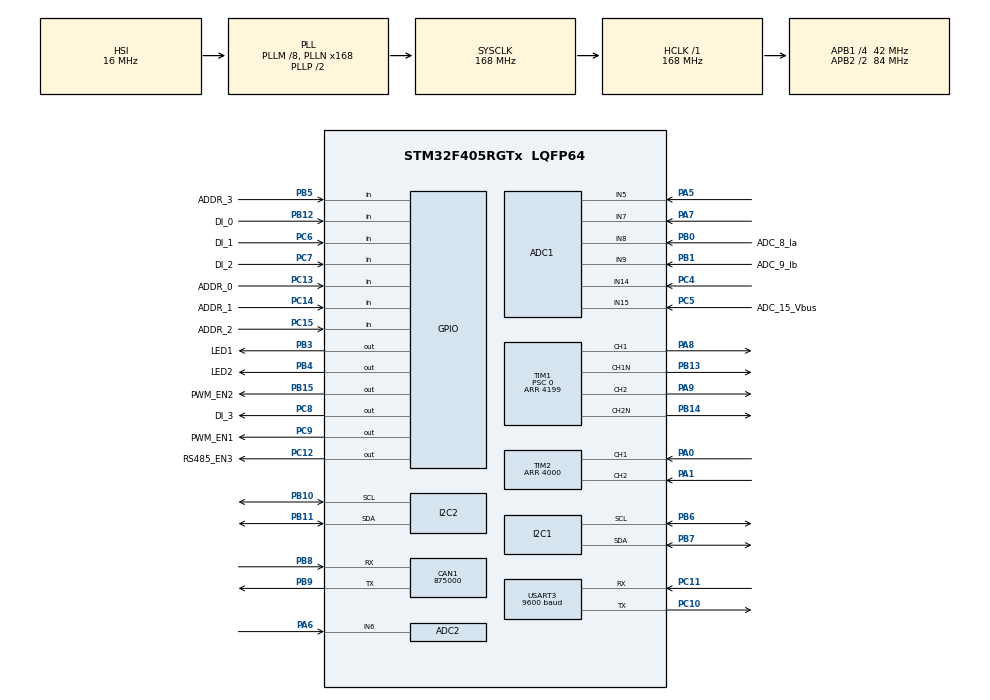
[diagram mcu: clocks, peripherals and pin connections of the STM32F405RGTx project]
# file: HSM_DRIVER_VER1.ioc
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ADC1.Channel-0\#ChannelRegularConversion=ADC_CHANNEL_9
ADC1.Channel-2\#ChannelRegularConversion=ADC_CHANNEL_8
ADC1.ClockPrescaler=ADC_CLOCK_SYNC_PCLK_DIV4
ADC1.ContinuousConvMode=DISABLE
ADC1.EOCSelection=ADC_EOC_SEQ_CONV
ADC1.NbrOfConversion=2
ADC1.NbrOfConversionFlag=1
ADC1.Rank-0\#ChannelRegularConversion=1
ADC1.Rank-2\#ChannelRegularConversion=2
ADC1.SamplingTime-0\#ChannelRegularConversion=ADC_SAMPLETIME_3CYCLES
ADC1.SamplingTime-2\#ChannelRegularConversion=ADC_SAMPLETIME_3CYCLES
ADC1.ScanConvMode=ENABLE
ADC1.master=1
ADC2.Channel-0\#ChannelRegularConversion=ADC_CHANNEL_6
ADC2.ClockPrescaler=ADC_CLOCK_SYNC_PCLK_DIV4
ADC2.NbrOfConversionFlag=1
ADC2.Rank-0\#ChannelRegularConversion=1
ADC2.SamplingTime-0\#ChannelRegularConversion=ADC_SAMPLETIME_3CYCLES
CAN1.CalculateBaudRate=875000
CAN1.CalculateTimeBit=1142
CAN1.CalculateTimeQuantum=380.95238095238096
Dma.ADC1.0.Direction=DMA_PERIPH_TO_MEMORY
Dma.ADC1.0.FIFOMode=DMA_FIFOMODE_DISABLE
Dma.ADC1.0.Instance=DMA2_Stream0
Dma.ADC1.0.MemDataAlignment=DMA_MDATAALIGN_HALFWORD
Dma.ADC1.0.MemInc=DMA_MINC_ENABLE
Dma.ADC1.0.Mode=DMA_NORMAL
Dma.ADC1.0.PeriphDataAlignment=DMA_PDATAALIGN_HALFWORD
Dma.ADC1.0.PeriphInc=DMA_PINC_DISABLE
Dma.ADC1.0.Priority=DMA_PRIORITY_VERY_HIGH
Dma.Request0=ADC1
Mcu.Family=STM32F4
Mcu.Name=STM32F405RGTx
Mcu.Package=LQFP64
NVIC.DMA2_Stream0_IRQn=true\:0\:0\:false\:false\:true\:false\:true\:true
NVIC.PriorityGroup=NVIC_PRIORITYGROUP_4
NVIC.TIM1_UP_TIM10_IRQn=true\:0\:0\:true\:false\:true\:true\:true\:true
PA0-WKUP.Signal=S_TIM2_CH1_ETR
PA1.Signal=S_TIM2_CH2
PA13.Mode=Serial_Wire
PA13.Signal=SYS_JTMS-SWDIO
PA14.Mode=Serial_Wire
PA14.Signal=SYS_JTCK-SWCLK
PA5.Signal=ADCx_IN5
PA6.Signal=ADCx_IN6
PA7.Signal=ADCx_IN7
PA8.Signal=S_TIM1_CH1
PA9.Signal=S_TIM1_CH2
PB0.GPIO_Label=ADC_8_Ia
PB0.Signal=ADCx_IN8
PB1.GPIO_Label=ADC_9_Ib
PB1.Signal=ADCx_IN9
PB10.Mode=I2C
PB10.Signal=I2C2_SCL
PB11.Mode=I2C
PB11.Signal=I2C2_SDA
PB12.GPIO_Label=DI_0
PB12.GPIO_PuPd=GPIO_NOPULL
PB12.Signal=GPIO_Input
PB13.Mode=PWM Generation1 CH1 CH1N
PB13.Signal=TIM1_CH1N
PB14.Mode=PWM Generation2 CH2 CH2N
PB14.Signal=TIM1_CH2N
PB15.GPIO_Label=PWM_EN2
PB15.Signal=GPIO_Output
PB3.GPIO_Label=LED1
PB3.Signal=GPIO_Output
PB4.GPIO_Label=LED2
PB4.Signal=GPIO_Output
PB5.GPIO_Label=ADDR_3
PB5.Signal=GPIO_Input
PB6.Mode=I2C
PB6.Signal=I2C1_SCL
PB7.Mode=I2C
PB7.Signal=I2C1_SDA
PB8.Mode=CAN_Activate
PB8.Signal=CAN1_RX
PB9.Mode=CAN_Activate
PB9.Signal=CAN1_TX
PC10.Mode=Asynchronous
PC10.Signal=USART3_TX
PC11.Mode=Asynchronous
PC11.Signal=USART3_RX
PC12.GPIO_Label=RS485_EN3
PC12.Signal=GPIO_Output
PC13-ANTI_TAMP.GPIO_Label=ADDR_0
PC13-ANTI_TAMP.GPIO_PuPd=GPIO_PULLUP
PC13-ANTI_TAMP.Signal=GPIO_Input
PC14-OSC32_IN.GPIO_Label=ADDR_1
PC14-OSC32_IN.GPIO_PuPd=GPIO_PULLUP
PC14-OSC32_IN.Signal=GPIO_Input
PC15-OSC32_OUT.GPIO_Label=ADDR_2
PC15-OSC32_OUT.Signal=GPIO_Input
PC4.Signal=ADCx_IN14
PC5.GPIO_Label=ADC_15_Vbus
PC5.Signal=ADCx_IN15
PC6.GPIO_Label=DI_1
PC6.GPIO_PuPd=GPIO_NOPULL
PC6.Signal=GPIO_Input
PC7.GPIO_Label=DI_2
PC7.Signal=GPIO_Input
PC8.GPIO_Label=DI_3
PC8.Signal=GPIO_Output
PC9.GPIO_Label=PWM_EN1
PC9.Signal=GPIO_Output
PH0-OSC_IN.Mode=HSE-External-Oscillator
PH0-OSC_IN.Signal=RCC_OSC_IN
PH1-OSC_OUT.Mode=HSE-External-Oscillator
PH1-OSC_OUT.Signal=RCC_OSC_OUT
ProjectManager.HeapSize=0x200
ProjectManager.StackSize=0x400
ProjectManager.TargetToolchain=MDK-ARM V5.32
RCC.48MHZClocksFreq_Value=84000000
RCC.AHBFreq_Value=168000000
RCC.APB1CLKDivider=RCC_HCLK_DIV4
RCC.APB1Freq_Value=42000000
RCC.APB1TimFreq_Value=84000000
RCC.APB2CLKDivider=RCC_HCLK_DIV2
RCC.APB2Freq_Value=84000000
RCC.APB2TimFreq_Value=168000000
RCC.CortexFreq_Value=168000000
RCC.HCLKFreq_Value=168000000
RCC.HSE_VALUE=25000000
RCC.HSI_VALUE=16000000
RCC.LSE_VALUE=32768
RCC.PLLM=8
RCC.PLLN=168
RCC.SYSCLKFreq_VALUE=168000000
RCC.SYSCLKSource=RCC_SYSCLKSOURCE_PLLCLK
RCC.VCOOutputFreq_Value=336000000
SH.ADCx_IN14.0=ADC1_IN14,IN14
SH.ADCx_IN15.0=ADC1_IN15,IN15
SH.ADCx_IN5.0=ADC1_IN5,IN5
SH.ADCx_IN6.0=ADC2_IN6,IN6
SH.ADCx_IN7.0=ADC1_IN7,IN7
SH.ADCx_IN8.0=ADC1_IN8,IN8
SH.ADCx_IN9.0=ADC1_IN9,IN9
SH.S_TIM1_CH1.0=TIM1_CH1,PWM Generation1 CH1 CH1N
SH.S_TIM1_CH2.0=TIM1_CH2,PWM Generation2 CH2 CH2N
SH.S_TIM2_CH1_ETR.0=TIM2_CH1,Encoder_Interface
SH.S_TIM2_CH2.0=TIM2_CH2,Encoder_Interface
TIM1.AutoReloadPreload=TIM_AUTORELOAD_PRELOAD_ENABLE
TIM1.Channel-PWM\ Generation1\ CH1\ CH1N=TIM_CHANNEL_1
TIM1.Channel-PWM\ Generation2\ CH2\ CH2N=TIM_CHANNEL_2
TIM1.CounterMode=TIM_COUNTERMODE_CENTERALIGNED1
TIM1.OCNIdleState_1=TIM_OCNIDLESTATE_SET
TIM1.OCNIdleState_2=TIM_OCNIDLESTATE_SET
TIM1.Period=4199
TIM1.Prescaler=0
TIM1.Pulse-PWM\ Generation1\ CH1\ CH1N=0
TIM1.Pulse-PWM\ Generation2\ CH2\ CH2N=0
TIM1.RepetitionCounter=0
TIM2.EncoderMode=TIM_ENCODERMODE_TI12
TIM2.IC1Filter=10
TIM2.IC2Filter=10
TIM2.Period=4000
TIM3.Prescaler=83 
TIM5.Prescaler=83
USART3.BaudRate=9600
USART3.VirtualMode=VM_ASYNC
VP_TIM1_VS_ClockSourceINT.Mode=Internal
VP_TIM3_VS_ClockSourceINT.Mode=Internal
VP_TIM5_VS_ClockSourceINT.Mode=Internal
board=custom

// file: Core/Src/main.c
/* USER CODE BEGIN Header */
/**
  ******************************************************************************
  * @file           : main.c
  * @brief          : Main program body
  ******************************************************************************
  * @attention
  *
  * Copyright (c) 2023 STMicroelectronics.
  * All rights reserved.
  *
  * This software is licensed under terms that can be found in the LICENSE file
  * in the root directory of this software component.
  * If no LICENSE file comes with this software, it is provided AS-IS.
  *
  ******************************************************************************
  */
/* USER CODE END Header */
#include "main.h"

/* USER CODE BEGIN Includes */
#include "stdio.h"
#include <math.h>
/* USER CODE END Includes */

ADC_HandleTypeDef hadc1;
ADC_HandleTypeDef hadc2;
DMA_HandleTypeDef hdma_adc1;

CAN_HandleTypeDef hcan1;

I2C_HandleTypeDef hi2c1;
I2C_HandleTypeDef hi2c2;

TIM_HandleTypeDef htim1;
TIM_HandleTypeDef htim2;
TIM_HandleTypeDef htim3;
TIM_HandleTypeDef htim5;

UART_HandleTypeDef huart3;

void SystemClock_Config(void);
static void MX_GPIO_Init(void);
static void MX_DMA_Init(void);
static void MX_ADC1_Init(void);
static void MX_ADC2_Init(void);
static void MX_CAN1_Init(void);
static void MX_I2C1_Init(void);
static void MX_I2C2_Init(void);
static void MX_TIM1_Init(void);
static void MX_TIM2_Init(void);
static void MX_USART3_UART_Init(void);
static void MX_TIM3_Init(void);
static void MX_TIM5_Init(void);

/* USER CODE BEGIN 0 */
		/*Khai bao bien*/
		ENCODER_OBJECT encoder_var, theta_var;
		PI_OBJECT PI_Id_var, PI_Iq_var, PI_speed_var;
		ADC_OBJECT adc_var;
		HSM hsm_var; 			// hybrid stepper motor variable
		FLAG flag_var;
		CONTROL_OBJECT control_var;
		SVPWM svpwm_var;
		LPF LPF_speed_var, LPF_current_var, LPF_voltage_var;
		UART uart_var;

		volatile float put_rpm = 0, put_Iq = 0;

		uint8_t MSG[20] = {'\0'};

		void Wait_time(float time){
			static volatile uint16_t getdata = 0;
			if (getdata < time){
				getdata++;						// get data after 1s
			}
			if(getdata == time){
				if(control_var.cnt_k == 0){
					flag_var.flag_read = 1;
					getdata = time+1;
					Motor_Enable();
				}
			}
		}

		void SAVE_DATA(TYPE data){
			static volatile uint16_t cnt_data = 0;
			if(cnt_data < 100){
				if(data == CURRENT){
					uart_var.data_1[cnt_data] = (int)(1000*control_var.Iq_sp); //(int)(control_var.dutyA);//  //(int)(1000*control_var.Id_sp);
					uart_var.data_2[cnt_data] = (int)(1000*control_var.Iq_fb); //(int)(control_var.dutyB);  //(int)(1000*control_var.Id_fb);
					uart_var.data_3[cnt_data] = (int)(1000*control_var.Id_sp);
					uart_var.data_4[cnt_data] = (int)(1000*control_var.Id_fb);
				}
				if(data == SPEED){
					uart_var.data_1[cnt_data] = (int)(100*control_var.rpm_sp);
					uart_var.data_2[cnt_data] = (int)(100*encoder_var.rpm_fb);
				}
				cnt_data++;			// next sample
			}
			else{
				Motor_stop();
				flag_var.flag_send = 1;		// start sending
				flag_var.flag_read = 0;			// stop reading
			}
		}
		/*HAM NGAT TIMER********************************************/
		void HAL_TIM_PeriodElapsedCallback(TIM_HandleTypeDef *htim){
			/* Prevent unused argument(s) compilation warning */
			UNUSED(htim);
			/*USER CODE*/

				if (htim->Instance == htim1.Instance){			// interrupt every 25us
					/*Let comment the Wait_time when run OPEN LOOP*/
					Wait_time(40000);	// wait a second to start running the motor

					/*Current loop execute below*/
					flag_var.flag_25us_50us++;
					if(flag_var.flag_25us_50us >= 2){			// every 50us
						CAL_CURRENT(&adc_var);
						//CURRENT_OPENLOOP(&control_var, &adc_var, 12);			// set the voltage
						flag_var.flag_25us_50us = 0;

						if(flag_var.flag_read == 1){				// start read and save data
							CURRENT_LOOP(&control_var, &PI_Id_var, &PI_Iq_var); //set the current Iq
							//SAVE_DATA(CURRENT);
						}
					}

					/*Speed loop*/
					flag_var.flag_25us_20ms++;
					if(flag_var.flag_25us_20ms >= 200){				// every 20ms
						CAL_SPEED(&encoder_var);
						//SPEED_LOOP(&control_var, &PI_speed_var, 120);		// set the speed rpm

						flag_var.flag_25us_20ms = 0;
						if(flag_var.flag_read == 1){				// start read and save data
							SPEED_LOOP(&control_var, &PI_speed_var, 120);
							SAVE_DATA(SPEED);
						}
					}
				}
		}
		/*Blink Leds********************************************/
		void nhayled(uint16_t ms){
			HAL_GPIO_TogglePin(LED1_GPIO_Port, LED1_Pin);
			HAL_GPIO_TogglePin(LED2_GPIO_Port, LED2_Pin);
			delay_ms(ms);
		}
			/* USER CODE END 0 */

int main(void)
{

  /* MCU Configuration--------------------------------------------------------*/

  /* Reset of all peripherals, Initializes the Flash interface and the Systick. */
  HAL_Init();

  /* Configure the system clock */
  SystemClock_Config();

  /* Initialize all configured peripherals */
  MX_GPIO_Init();
  MX_DMA_Init();
  MX_ADC1_Init();
  MX_ADC2_Init();
  MX_CAN1_Init();
  MX_I2C1_Init();
  MX_I2C2_Init();
  MX_TIM1_Init();
  MX_TIM2_Init();
  MX_USART3_UART_Init();
  MX_TIM3_Init();
  MX_TIM5_Init();
  /* USER CODE BEGIN 2 */
		HAL_GPIO_WritePin(LED1_GPIO_Port, LED1_Pin, GPIO_PIN_SET);		// 	disable led 1
		HAL_GPIO_WritePin(LED2_GPIO_Port, LED2_Pin, GPIO_PIN_SET);		//  disable led 2
		HAL_GPIO_WritePin(PWM_EN1_GPIO_Port, PWM_EN1_Pin, GPIO_PIN_RESET);		// disable H bridge 1
		HAL_GPIO_WritePin(PWM_EN2_GPIO_Port, PWM_EN2_Pin, GPIO_PIN_RESET);		// disable H bridge 1

		// BAT CHE DO PHAT XUNG PWM 2 KENH
		HAL_TIM_PWM_Start(&htim1, TIM_CHANNEL_1);
		HAL_TIMEx_PWMN_Start(&htim1, TIM_CHANNEL_1);
		HAL_TIM_PWM_Start(&htim1, TIM_CHANNEL_2);
		HAL_TIMEx_PWMN_Start(&htim1, TIM_CHANNEL_2);

		// START ADC
		HAL_ADC_Start(&hadc1);

		// CONFIG TIMER
		HAL_TIM_Base_Start_IT(&htim1); 			// PWM & control loop
		HAL_TIM_Base_Start_IT(&htim2); 			// Encoder
		HAL_TIM_Base_Start(&htim3); 		 		//	counter timer - delay timer (not used yet)
		HAL_TIM_Base_Start(&htim5); 		 		//	counter timer - delay timer (not used yet)
		//HAL_TIM_Encoder_Start_IT(&htim2, TIM_CHANNEL_ALL);
		HAL_TIM_Encoder_Start(&htim2, TIM_CHANNEL_ALL);			// Encoder on htim 2
		//HAL_UART_Receive_IT(&huart3, &uart_var.data_RX, 1);

		// INIT FUNCTIONS
		MOTOR_Init(&hsm_var);

		FLAG_Init(&flag_var);
		ADC_Init(&adc_var);
		ENCODER_Init(&encoder_var, 1000, 4, 5e-3);			// use for cal the speed
		ENCODER_Init(&theta_var, 1000, 4, NULL);		// use for count the received pulse, then cal the theta mechanical (rad)

		CONTROLLER_Init(&control_var, 50e-6);			/*CONTROLLER_Init(control var, Ts);*/
		SVPWM_Init(&svpwm_var);

		LPF_Init(&LPF_current_var, 1000, 0.0001);
		LPF_Init(&LPF_speed_var, 10, 0.01);
		LPF_Init(&LPF_voltage_var, 10, 0.01);

		PI_CURRENT_Init(&PI_Id_var, 50e-6);
		PI_CURRENT_Init(&PI_Iq_var, 50e-6);
		PI_SPEED_Init(&PI_speed_var, 5e-3);

		UART_Init(&uart_var);

		/*Enable the motor to hold rotor on phase A*/
		Motor_Enable();
		//htim1.Instance->CCR1 = 2500;
		//htim1.Instance->CCR2 = 2100;
		//Motor_stop();

		HAL_GPIO_WritePin(RS485_EN3_GPIO_Port, RS485_EN3_Pin, GPIO_PIN_SET);		// Set the transmit mode for IC RS485
  /* USER CODE END 2 */

  /* Infinite loop */
  while (1)
  {

    /* USER CODE BEGIN 3 */

		if(flag_var.flag_send == 1){
			if(uart_var.cnt < 100){
				sprintf((char*)MSG,"\n%d %d %d %d %d", uart_var.data_1[uart_var.cnt],uart_var.data_2[uart_var.cnt],
																							uart_var.data_3[uart_var.cnt],uart_var.data_4[uart_var.cnt],uart_var.cnt);
				HAL_UART_Transmit(&huart3, (uint8_t *)MSG, sizeof(MSG), 100);
				uart_var.cnt++;
				//HAL_Delay(10);
			}
			else{
				flag_var.flag_send = 0;
				//HAL_GPIO_WritePin(LED1_GPIO_Port, LED1_Pin, GPIO_PIN_RESET);			// inform the sending data is done
				HAL_UART_Transmit(&huart3, (uint8_t *)"\nE0,E0,E0;", sizeof("\nE0,E0,E0;"), 30);		// stop frame
			}
		}

		/*---------------------------Used for test few modes------------------------------------------*/

		/*MODE TEST 1 - 1 up, 2 up*/
//		if(HAL_GPIO_ReadPin(ADDR_0_GPIO_Port, ADDR_0_Pin)==0 && HAL_GPIO_ReadPin(ADDR_1_GPIO_Port, ADDR_1_Pin)==0){
//			put_rpm = 30;
//		}
//
//		/*MODE TEST 2 - 1 down, 2 up*/
//		if(HAL_GPIO_ReadPin(ADDR_0_GPIO_Port, ADDR_0_Pin)==1 && HAL_GPIO_ReadPin(ADDR_1_GPIO_Port, ADDR_1_Pin)==0){
//			put_rpm = 60;
//		}
//
//		/*MODE TEST 2 - 1 down, 2 down*/
//		if(HAL_GPIO_ReadPin(ADDR_0_GPIO_Port, ADDR_0_Pin)==1 && HAL_GPIO_ReadPin(ADDR_1_GPIO_Port, ADDR_1_Pin)==1){
//			put_rpm = 120;
//		}
//
//		/*MODE TEST 2 - 1 up, 2 down*/
//		if(HAL_GPIO_ReadPin(ADDR_0_GPIO_Port, ADDR_0_Pin)==0 && HAL_GPIO_ReadPin(ADDR_1_GPIO_Port, ADDR_1_Pin)==1){
//			put_rpm = 150;
//		}

  }
  /* USER CODE END 3 */
}

void SystemClock_Config(void)
{
  RCC_OscInitTypeDef RCC_OscInitStruct = {0};
  RCC_ClkInitTypeDef RCC_ClkInitStruct = {0};

  /** Configure the main internal regulator output voltage
  */
  __HAL_RCC_PWR_CLK_ENABLE();
  __HAL_PWR_VOLTAGESCALING_CONFIG(PWR_REGULATOR_VOLTAGE_SCALE1);

  /** Initializes the RCC Oscillators according to the specified parameters
  * in the RCC_OscInitTypeDef structure.
  */
  RCC_OscInitStruct.OscillatorType = RCC_OSCILLATORTYPE_HSI;
  RCC_OscInitStruct.HSIState = RCC_HSI_ON;
  RCC_OscInitStruct.HSICalibrationValue = RCC_HSICALIBRATION_DEFAULT;
  RCC_OscInitStruct.PLL.PLLState = RCC_PLL_ON;
  RCC_OscInitStruct.PLL.PLLSource = RCC_PLLSOURCE_HSI;
  RCC_OscInitStruct.PLL.PLLM = 8;
  RCC_OscInitStruct.PLL.PLLN = 168;
  RCC_OscInitStruct.PLL.PLLP = RCC_PLLP_DIV2;
  RCC_OscInitStruct.PLL.PLLQ = 4;
  if (HAL_RCC_OscConfig(&RCC_OscInitStruct) != HAL_OK)
  {
    Error_Handler();
  }

  /** Initializes the CPU, AHB and APB buses clocks
  */
  RCC_ClkInitStruct.ClockType = RCC_CLOCKTYPE_HCLK|RCC_CLOCKTYPE_SYSCLK
                              |RCC_CLOCKTYPE_PCLK1|RCC_CLOCKTYPE_PCLK2;
  RCC_ClkInitStruct.SYSCLKSource = RCC_SYSCLKSOURCE_PLLCLK;
  RCC_ClkInitStruct.AHBCLKDivider = RCC_SYSCLK_DIV1;
  RCC_ClkInitStruct.APB1CLKDivider = RCC_HCLK_DIV4;
  RCC_ClkInitStruct.APB2CLKDivider = RCC_HCLK_DIV2;

  if (HAL_RCC_ClockConfig(&RCC_ClkInitStruct, FLASH_LATENCY_5) != HAL_OK)
  {
    Error_Handler();
  }
}

static void MX_ADC1_Init(void)
{

  ADC_ChannelConfTypeDef sConfig = {0};

  /** Configure the global features of the ADC (Clock, Resolution, Data Alignment and number of conversion)
  */
  hadc1.Instance = ADC1;
  hadc1.Init.ClockPrescaler = ADC_CLOCK_SYNC_PCLK_DIV4;
  hadc1.Init.Resolution = ADC_RESOLUTION_12B;
  hadc1.Init.ScanConvMode = ENABLE;
  hadc1.Init.ContinuousConvMode = DISABLE;
  hadc1.Init.DiscontinuousConvMode = DISABLE;
  hadc1.Init.ExternalTrigConvEdge = ADC_EXTERNALTRIGCONVEDGE_NONE;
  hadc1.Init.ExternalTrigConv = ADC_SOFTWARE_START;
  hadc1.Init.DataAlign = ADC_DATAALIGN_RIGHT;
  hadc1.Init.NbrOfConversion = 2;
  hadc1.Init.DMAContinuousRequests = DISABLE;
  hadc1.Init.EOCSelection = ADC_EOC_SEQ_CONV;
  if (HAL_ADC_Init(&hadc1) != HAL_OK)
  {
    Error_Handler();
  }

  /** Configure for the selected ADC regular channel its corresponding rank in the sequencer and its sample time.
  */
  sConfig.Channel = ADC_CHANNEL_9;
  sConfig.Rank = 1;
  sConfig.SamplingTime = ADC_SAMPLETIME_3CYCLES;
  if (HAL_ADC_ConfigChannel(&hadc1, &sConfig) != HAL_OK)
  {
    Error_Handler();
  }

  /** Configure for the selected ADC regular channel its corresponding rank in the sequencer and its sample time.
  */
  sConfig.Channel = ADC_CHANNEL_8;
  sConfig.Rank = 2;
  if (HAL_ADC_ConfigChannel(&hadc1, &sConfig) != HAL_OK)
  {
    Error_Handler();
  }

}

static void MX_ADC2_Init(void)
{

  ADC_ChannelConfTypeDef sConfig = {0};

  /** Configure the global features of the ADC (Clock, Resolution, Data Alignment and number of conversion)
  */
  hadc2.Instance = ADC2;
  hadc2.Init.ClockPrescaler = ADC_CLOCK_SYNC_PCLK_DIV4;
  hadc2.Init.Resolution = ADC_RESOLUTION_12B;
  hadc2.Init.ScanConvMode = DISABLE;
  hadc2.Init.ContinuousConvMode = DISABLE;
  hadc2.Init.DiscontinuousConvMode = DISABLE;
  hadc2.Init.ExternalTrigConvEdge = ADC_EXTERNALTRIGCONVEDGE_NONE;
  hadc2.Init.ExternalTrigConv = ADC_SOFTWARE_START;
  hadc2.Init.DataAlign = ADC_DATAALIGN_RIGHT;
  hadc2.Init.NbrOfConversion = 1;
  hadc2.Init.DMAContinuousRequests = DISABLE;
  hadc2.Init.EOCSelection = ADC_EOC_SINGLE_CONV;
  if (HAL_ADC_Init(&hadc2) != HAL_OK)
  {
    Error_Handler();
  }

  /** Configure for the selected ADC regular channel its corresponding rank in the sequencer and its sample time.
  */
  sConfig.Channel = ADC_CHANNEL_6;
  sConfig.Rank = 1;
  sConfig.SamplingTime = ADC_SAMPLETIME_3CYCLES;
  if (HAL_ADC_ConfigChannel(&hadc2, &sConfig) != HAL_OK)
  {
    Error_Handler();
  }

}

static void MX_CAN1_Init(void)
{

  hcan1.Instance = CAN1;
  hcan1.Init.Prescaler = 16;
  hcan1.Init.Mode = CAN_MODE_NORMAL;
  hcan1.Init.SyncJumpWidth = CAN_SJW_1TQ;
  hcan1.Init.TimeSeg1 = CAN_BS1_1TQ;
  hcan1.Init.TimeSeg2 = CAN_BS2_1TQ;
  hcan1.Init.TimeTriggeredMode = DISABLE;
  hcan1.Init.AutoBusOff = DISABLE;
  hcan1.Init.AutoWakeUp = DISABLE;
  hcan1.Init.AutoRetransmission = DISABLE;
  hcan1.Init.ReceiveFifoLocked = DISABLE;
  hcan1.Init.TransmitFifoPriority = DISABLE;
  if (HAL_CAN_Init(&hcan1) != HAL_OK)
  {
    Error_Handler();
  }

}

static void MX_I2C1_Init(void)
{

  hi2c1.Instance = I2C1;
  hi2c1.Init.ClockSpeed = 100000;
  hi2c1.Init.DutyCycle = I2C_DUTYCYCLE_2;
  hi2c1.Init.OwnAddress1 = 0;
  hi2c1.Init.AddressingMode = I2C_ADDRESSINGMODE_7BIT;
  hi2c1.Init.DualAddressMode = I2C_DUALADDRESS_DISABLE;
  hi2c1.Init.OwnAddress2 = 0;
  hi2c1.Init.GeneralCallMode = I2C_GENERALCALL_DISABLE;
  hi2c1.Init.NoStretchMode = I2C_NOSTRETCH_DISABLE;
  if (HAL_I2C_Init(&hi2c1) != HAL_OK)
  {
    Error_Handler();
  }

}

static void MX_I2C2_Init(void)
{

  hi2c2.Instance = I2C2;
  hi2c2.Init.ClockSpeed = 100000;
  hi2c2.Init.DutyCycle = I2C_DUTYCYCLE_2;
  hi2c2.Init.OwnAddress1 = 0;
  hi2c2.Init.AddressingMode = I2C_ADDRESSINGMODE_7BIT;
  hi2c2.Init.DualAddressMode = I2C_DUALADDRESS_DISABLE;
  hi2c2.Init.OwnAddress2 = 0;
  hi2c2.Init.GeneralCallMode = I2C_GENERALCALL_DISABLE;
  hi2c2.Init.NoStretchMode = I2C_NOSTRETCH_DISABLE;
  if (HAL_I2C_Init(&hi2c2) != HAL_OK)
  {
    Error_Handler();
  }

}

static void MX_TIM1_Init(void)
{

  TIM_ClockConfigTypeDef sClockSourceConfig = {0};
  TIM_MasterConfigTypeDef sMasterConfig = {0};
  TIM_OC_InitTypeDef sConfigOC = {0};
  TIM_BreakDeadTimeConfigTypeDef sBreakDeadTimeConfig = {0};

  htim1.Instance = TIM1;
  htim1.Init.Prescaler = 0;
  htim1.Init.CounterMode = TIM_COUNTERMODE_CENTERALIGNED1;
  htim1.Init.Period = 4199;
  htim1.Init.ClockDivision = TIM_CLOCKDIVISION_DIV1;
  htim1.Init.RepetitionCounter = 0;
  htim1.Init.AutoReloadPreload = TIM_AUTORELOAD_PRELOAD_ENABLE;
  if (HAL_TIM_Base_Init(&htim1) != HAL_OK)
  {
    Error_Handler();
  }
  sClockSourceConfig.ClockSource = TIM_CLOCKSOURCE_INTERNAL;
  if (HAL_TIM_ConfigClockSource(&htim1, &sClockSourceConfig) != HAL_OK)
  {
    Error_Handler();
  }
  if (HAL_TIM_PWM_Init(&htim1) != HAL_OK)
  {
    Error_Handler();
  }
  sMasterConfig.MasterOutputTrigger = TIM_TRGO_RESET;
  sMasterConfig.MasterSlaveMode = TIM_MASTERSLAVEMODE_DISABLE;
  if (HAL_TIMEx_MasterConfigSynchronization(&htim1, &sMasterConfig) != HAL_OK)
  {
    Error_Handler();
  }
  sConfigOC.OCMode = TIM_OCMODE_PWM1;
  sConfigOC.Pulse = 0;
  sConfigOC.OCPolarity = TIM_OCPOLARITY_HIGH;
  sConfigOC.OCNPolarity = TIM_OCNPOLARITY_HIGH;
  sConfigOC.OCFastMode = TIM_OCFAST_DISABLE;
  sConfigOC.OCIdleState = TIM_OCIDLESTATE_RESET;
  sConfigOC.OCNIdleState = TIM_OCNIDLESTATE_SET;
  if (HAL_TIM_PWM_ConfigChannel(&htim1, &sConfigOC, TIM_CHANNEL_1) != HAL_OK)
  {
    Error_Handler();
  }
  if (HAL_TIM_PWM_ConfigChannel(&htim1, &sConfigOC, TIM_CHANNEL_2) != HAL_OK)
  {
    Error_Handler();
  }
  sBreakDeadTimeConfig.OffStateRunMode = TIM_OSSR_DISABLE;
  sBreakDeadTimeConfig.OffStateIDLEMode = TIM_OSSI_DISABLE;
  sBreakDeadTimeConfig.LockLevel = TIM_LOCKLEVEL_OFF;
  sBreakDeadTimeConfig.DeadTime = 0;
  sBreakDeadTimeConfig.BreakState = TIM_BREAK_DISABLE;
  sBreakDeadTimeConfig.BreakPolarity = TIM_BREAKPOLARITY_HIGH;
  sBreakDeadTimeConfig.AutomaticOutput = TIM_AUTOMATICOUTPUT_DISABLE;
  if (HAL_TIMEx_ConfigBreakDeadTime(&htim1, &sBreakDeadTimeConfig) != HAL_OK)
  {
    Error_Handler();
  }
  HAL_TIM_MspPostInit(&htim1);

}

static void MX_TIM2_Init(void)
{

  TIM_Encoder_InitTypeDef sConfig = {0};
  TIM_MasterConfigTypeDef sMasterConfig = {0};

  htim2.Instance = TIM2;
  htim2.Init.Prescaler = 0;
  htim2.Init.CounterMode = TIM_COUNTERMODE_UP;
  htim2.Init.Period = 4000;
  htim2.Init.ClockDivision = TIM_CLOCKDIVISION_DIV1;
  htim2.Init.AutoReloadPreload = TIM_AUTORELOAD_PRELOAD_DISABLE;
  sConfig.EncoderMode = TIM_ENCODERMODE_TI12;
  sConfig.IC1Polarity = TIM_ICPOLARITY_RISING;
  sConfig.IC1Selection = TIM_ICSELECTION_DIRECTTI;
  sConfig.IC1Prescaler = TIM_ICPSC_DIV1;
  sConfig.IC1Filter = 10;
  sConfig.IC2Polarity = TIM_ICPOLARITY_RISING;
  sConfig.IC2Selection = TIM_ICSELECTION_DIRECTTI;
  sConfig.IC2Prescaler = TIM_ICPSC_DIV1;
  sConfig.IC2Filter = 10;
  if (HAL_TIM_Encoder_Init(&htim2, &sConfig) != HAL_OK)
  {
    Error_Handler();
  }
  sMasterConfig.MasterOutputTrigger = TIM_TRGO_RESET;
  sMasterConfig.MasterSlaveMode = TIM_MASTERSLAVEMODE_DISABLE;
  if (HAL_TIMEx_MasterConfigSynchronization(&htim2, &sMasterConfig) != HAL_OK)
  {
    Error_Handler();
  }
  /* USER CODE BEGIN TIM2_Init 2 */
		htim2.Init.Period = 3840;
  /* USER CODE END TIM2_Init 2 */

}

static void MX_TIM3_Init(void)
{

  TIM_ClockConfigTypeDef sClockSourceConfig = {0};
  TIM_MasterConfigTypeDef sMasterConfig = {0};

  htim3.Instance = TIM3;
  htim3.Init.Prescaler = 83 ;
  htim3.Init.CounterMode = TIM_COUNTERMODE_UP;
  htim3.Init.Period = 65535;
  htim3.Init.ClockDivision = TIM_CLOCKDIVISION_DIV1;
  htim3.Init.AutoReloadPreload = TIM_AUTORELOAD_PRELOAD_DISABLE;
  if (HAL_TIM_Base_Init(&htim3) != HAL_OK)
  {
    Error_Handler();
  }
  sClockSourceConfig.ClockSource = TIM_CLOCKSOURCE_INTERNAL;
  if (HAL_TIM_ConfigClockSource(&htim3, &sClockSourceConfig) != HAL_OK)
  {
    Error_Handler();
  }
  sMasterConfig.MasterOutputTrigger = TIM_TRGO_RESET;
  sMasterConfig.MasterSlaveMode = TIM_MASTERSLAVEMODE_DISABLE;
  if (HAL_TIMEx_MasterConfigSynchronization(&htim3, &sMasterConfig) != HAL_OK)
  {
    Error_Handler();
  }

}

static void MX_TIM5_Init(void)
{

  TIM_ClockConfigTypeDef sClockSourceConfig = {0};
  TIM_MasterConfigTypeDef sMasterConfig = {0};

  htim5.Instance = TIM5;
  htim5.Init.Prescaler = 83;
  htim5.Init.CounterMode = TIM_COUNTERMODE_UP;
  htim5.Init.Period = 4294967295;
  htim5.Init.ClockDivision = TIM_CLOCKDIVISION_DIV1;
  htim5.Init.AutoReloadPreload = TIM_AUTORELOAD_PRELOAD_DISABLE;
  if (HAL_TIM_Base_Init(&htim5) != HAL_OK)
  {
    Error_Handler();
  }
  sClockSourceConfig.ClockSource = TIM_CLOCKSOURCE_INTERNAL;
  if (HAL_TIM_ConfigClockSource(&htim5, &sClockSourceConfig) != HAL_OK)
  {
    Error_Handler();
  }
  sMasterConfig.MasterOutputTrigger = TIM_TRGO_RESET;
  sMasterConfig.MasterSlaveMode = TIM_MASTERSLAVEMODE_DISABLE;
  if (HAL_TIMEx_MasterConfigSynchronization(&htim5, &sMasterConfig) != HAL_OK)
  {
    Error_Handler();
  }

}

static void MX_USART3_UART_Init(void)
{

  huart3.Instance = USART3;
  huart3.Init.BaudRate = 2400;
  huart3.Init.WordLength = UART_WORDLENGTH_8B;
  huart3.Init.StopBits = UART_STOPBITS_1;
  huart3.Init.Parity = UART_PARITY_NONE;
  huart3.Init.Mode = UART_MODE_TX_RX;
  huart3.Init.HwFlowCtl = UART_HWCONTROL_NONE;
  huart3.Init.OverSampling = UART_OVERSAMPLING_16;
  if (HAL_UART_Init(&huart3) != HAL_OK)
  {
    Error_Handler();
  }

}

static void MX_DMA_Init(void)
{

  /* DMA controller clock enable */
  __HAL_RCC_DMA2_CLK_ENABLE();

  /* DMA interrupt init */
  /* DMA2_Stream0_IRQn interrupt configuration */
  HAL_NVIC_SetPriority(DMA2_Stream0_IRQn, 0, 0);
  HAL_NVIC_EnableIRQ(DMA2_Stream0_IRQn);

}

static void MX_GPIO_Init(void)
{
  GPIO_InitTypeDef GPIO_InitStruct = {0};

  /* GPIO Ports Clock Enable */
  __HAL_RCC_GPIOC_CLK_ENABLE();
  __HAL_RCC_GPIOH_CLK_ENABLE();
  __HAL_RCC_GPIOA_CLK_ENABLE();
  __HAL_RCC_GPIOB_CLK_ENABLE();

  /*Configure GPIO pin Output Level */
  HAL_GPIO_WritePin(GPIOB, PWM_EN2_Pin|LED1_Pin|LED2_Pin, GPIO_PIN_RESET);

  /*Configure GPIO pin Output Level */
  HAL_GPIO_WritePin(GPIOC, DI_3_Pin|PWM_EN1_Pin|RS485_EN3_Pin, GPIO_PIN_RESET);

  /*Configure GPIO pins : ADDR_0_Pin ADDR_1_Pin */
  GPIO_InitStruct.Pin = ADDR_0_Pin|ADDR_1_Pin;
  GPIO_InitStruct.Mode = GPIO_MODE_INPUT;
  GPIO_InitStruct.Pull = GPIO_PULLUP;
  HAL_GPIO_Init(GPIOC, &GPIO_InitStruct);

  /*Configure GPIO pins : ADDR_2_Pin DI_1_Pin DI_2_Pin */
  GPIO_InitStruct.Pin = ADDR_2_Pin|DI_1_Pin|DI_2_Pin;
  GPIO_InitStruct.Mode = GPIO_MODE_INPUT;
  GPIO_InitStruct.Pull = GPIO_NOPULL;
  HAL_GPIO_Init(GPIOC, &GPIO_InitStruct);

  /*Configure GPIO pins : DI_0_Pin ADDR_3_Pin */
  GPIO_InitStruct.Pin = DI_0_Pin|ADDR_3_Pin;
  GPIO_InitStruct.Mode = GPIO_MODE_INPUT;
  GPIO_InitStruct.Pull = GPIO_NOPULL;
  HAL_GPIO_Init(GPIOB, &GPIO_InitStruct);

  /*Configure GPIO pins : PWM_EN2_Pin LED1_Pin LED2_Pin */
  GPIO_InitStruct.Pin = PWM_EN2_Pin|LED1_Pin|LED2_Pin;
  GPIO_InitStruct.Mode = GPIO_MODE_OUTPUT_PP;
  GPIO_InitStruct.Pull = GPIO_NOPULL;
  GPIO_InitStruct.Speed = GPIO_SPEED_FREQ_LOW;
  HAL_GPIO_Init(GPIOB, &GPIO_InitStruct);

  /*Configure GPIO pins : DI_3_Pin PWM_EN1_Pin RS485_EN3_Pin */
  GPIO_InitStruct.Pin = DI_3_Pin|PWM_EN1_Pin|RS485_EN3_Pin;
  GPIO_InitStruct.Mode = GPIO_MODE_OUTPUT_PP;
  GPIO_InitStruct.Pull = GPIO_NOPULL;
  GPIO_InitStruct.Speed = GPIO_SPEED_FREQ_LOW;
  HAL_GPIO_Init(GPIOC, &GPIO_InitStruct);

}

void Error_Handler(void)
{
  __disable_irq();
  while (1)
  {
  }
}
